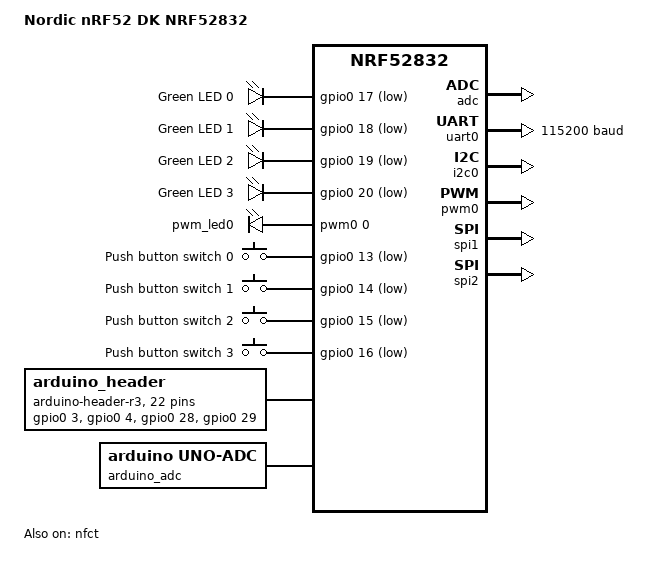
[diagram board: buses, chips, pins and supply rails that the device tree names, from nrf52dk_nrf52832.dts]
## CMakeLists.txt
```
# SPDX-License-Identifier: Apache-2.0

cmake_minimum_required(VERSION 3.20.0)
find_package(Zephyr REQUIRED HINTS $ENV{ZEPHYR_BASE})
project(temp-logger)

target_include_directories(app PRIVATE include)

target_sources(app PRIVATE 
    src/main.c
    src/sensorsHandler.c
    src/temperature.c
    src/timers.c
    src/ledHandler.c
    src/buttonHandler.c
    src/flashHandler.c
)
```

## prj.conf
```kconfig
CONFIG_GPIO=y
CONFIG_SENSOR=y
CONFIG_ADC=y
CONFIG_PRINTK=y
CONFIG_CBPRINTF_FP_SUPPORT=y
CONFIG_FLASH=y
CONFIG_MPU_ALLOW_FLASH_WRITE=y
CONFIG_FLASH_PAGE_LAYOUT=y
CONFIG_FLASH_MAP=y
CONFIG_FCB=y
CONFIG_LOG=y
CONFIG_SETTINGS=y
CONFIG_SETTINGS_FCB=y
```

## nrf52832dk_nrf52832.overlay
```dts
/*
 * SPDX-License-Identifier: Apache-2.0
 *
 * Copyright (c) 2023 Hisanori YAMAOKU
 */

/ {
	aliases {
		die-temp0 = &temp;
	};
};
```

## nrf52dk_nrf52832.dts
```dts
/*
 * Copyright (c) 2017 Shawn Nock <shawn@monadnock.ca>
 * Copyright (c) 2017 Linaro Limited
 *
 * SPDX-License-Identifier: Apache-2.0
 */

/dts-v1/;
#include <nordic/nrf52832_qfaa.dtsi>
#include "nrf52dk_nrf52832-pinctrl.dtsi"
#include <zephyr/dt-bindings/input/input-event-codes.h>

/ {
	model = "Nordic nRF52 DK NRF52832";
	compatible = "nordic,nrf52-dk-nrf52832";

	chosen {
		zephyr,console = &uart0;
		zephyr,shell-uart = &uart0;
		zephyr,uart-mcumgr = &uart0;
		zephyr,bt-mon-uart = &uart0;
		zephyr,bt-c2h-uart = &uart0;
		zephyr,sram = &sram0;
		zephyr,flash = &flash0;
		zephyr,code-partition = &slot0_partition;
	};

	leds {
		compatible = "gpio-leds";

		led0: led_0 {
			gpios = <&gpio0 17 GPIO_ACTIVE_LOW>;
			label = "Green LED 0";
		};

		led1: led_1 {
			gpios = <&gpio0 18 GPIO_ACTIVE_LOW>;
			label = "Green LED 1";
		};

		led2: led_2 {
			gpios = <&gpio0 19 GPIO_ACTIVE_LOW>;
			label = "Green LED 2";
		};

		led3: led_3 {
			gpios = <&gpio0 20 GPIO_ACTIVE_LOW>;
			label = "Green LED 3";
		};
	};

	pwmleds {
		compatible = "pwm-leds";

		pwm_led0: pwm_led_0 {
			pwms = <&pwm0 0 PWM_MSEC(20) PWM_POLARITY_INVERTED>;
		};
	};

	buttons {
		compatible = "gpio-keys";

		button0: button_0 {
			gpios = <&gpio0 13 (GPIO_PULL_UP | GPIO_ACTIVE_LOW)>;
			label = "Push button switch 0";
			zephyr,code = <INPUT_KEY_0>;
		};

		button1: button_1 {
			gpios = <&gpio0 14 (GPIO_PULL_UP | GPIO_ACTIVE_LOW)>;
			label = "Push button switch 1";
			zephyr,code = <INPUT_KEY_1>;
		};

		button2: button_2 {
			gpios = <&gpio0 15 (GPIO_PULL_UP | GPIO_ACTIVE_LOW)>;
			label = "Push button switch 2";
			zephyr,code = <INPUT_KEY_2>;
		};

		button3: button_3 {
			gpios = <&gpio0 16 (GPIO_PULL_UP | GPIO_ACTIVE_LOW)>;
			label = "Push button switch 3";
			zephyr,code = <INPUT_KEY_3>;
		};
	};

	arduino_header: connector {
		compatible = "arduino-header-r3";
		#gpio-cells = <2>;
		gpio-map-mask = <0xffffffff 0xffffffc0>;
		gpio-map-pass-thru = <0 0x3f>;
		gpio-map = <0 0 &gpio0 3 0>,	/* A0 */
			   <1 0 &gpio0 4 0>,	/* A1 */
			   <2 0 &gpio0 28 0>,	/* A2 */
			   <3 0 &gpio0 29 0>,	/* A3 */
			   <4 0 &gpio0 30 0>,	/* A4 */
			   <5 0 &gpio0 31 0>,	/* A5 */
			   <6 0 &gpio0 11 0>,	/* D0 */
			   <7 0 &gpio0 12 0>,	/* D1 */
			   <8 0 &gpio0 13 0>,	/* D2 */
			   <9 0 &gpio0 14 0>,	/* D3 */
			   <10 0 &gpio0 15 0>,	/* D4 */
			   <11 0 &gpio0 16 0>,	/* D5 */
			   <12 0 &gpio0 17 0>,	/* D6 */
			   <13 0 &gpio0 18 0>,	/* D7 */
			   <14 0 &gpio0 19 0>,	/* D8 */
			   <15 0 &gpio0 20 0>,	/* D9 */
			   <16 0 &gpio0 22 0>,	/* D10 */
			   <17 0 &gpio0 23 0>,	/* D11 */
			   <18 0 &gpio0 24 0>,	/* D12 */
			   <19 0 &gpio0 25 0>,	/* D13 */
			   <20 0 &gpio0 26 0>,	/* D14 */
			   <21 0 &gpio0 27 0>;	/* D15 */
	};

	arduino_adc: analog-connector {
		compatible = "arduino,uno-adc";
		#io-channel-cells = <1>;
		io-channel-map = <0 &adc 1>,	/* A0 = P0.3 = AIN1 */
				 <1 &adc 2>,	/* A1 = P0.4 = AIN2 */
				 <2 &adc 4>,	/* A2 = P0.28 = AIN4 */
				 <3 &adc 5>,	/* A3 = P0.29 = AIN5 */
				 <4 &adc 6>,	/* A4 = P0.30 = AIN6 */
				 <5 &adc 7>;	/* A5 = P0.31 = AIN7 */
	};

	/* These aliases are provided for compatibility with samples */
	aliases {
		led0 = &led0;
		led1 = &led1;
		led2 = &led2;
		led3 = &led3;
		pwm-led0 = &pwm_led0;
		sw0 = &button0;
		sw1 = &button1;
		sw2 = &button2;
		sw3 = &button3;
		bootloader-led0 = &led0;
		mcuboot-button0 = &button0;
		mcuboot-led0 = &led0;
		watchdog0 = &wdt0;
	};
};

&reg {
	regulator-initial-mode = <NRF5X_REG_MODE_DCDC>;
};

&adc {
	status = "okay";
};

&uicr {
	gpio-as-nreset;
};

&nfct {
	status = "okay";
};

&gpiote {
	status = "okay";
};

&gpio0 {
	status = "okay";
};

arduino_serial: &uart0 {
	status = "okay";
	compatible = "nordic,nrf-uarte";
	current-speed = <115200>;
	pinctrl-0 = <&uart0_default>;
	pinctrl-1 = <&uart0_sleep>;
	pinctrl-names = "default", "sleep";
};

arduino_i2c: &i2c0 {
	compatible = "nordic,nrf-twi";
	status = "okay";
	pinctrl-0 = <&i2c0_default>;
	pinctrl-1 = <&i2c0_sleep>;
	pinctrl-names = "default", "sleep";
};

&i2c1 {
	compatible = "nordic,nrf-twi";
	/* Cannot be used together with spi1. */
	/* status = "okay"; */
	pinctrl-0 = <&i2c1_default>;
	pinctrl-1 = <&i2c1_sleep>;
	pinctrl-names = "default", "sleep";
};

&pwm0 {
	status = "okay";
	pinctrl-0 = <&pwm0_default>;
	pinctrl-1 = <&pwm0_sleep>;
	pinctrl-names = "default", "sleep";
};

&spi0 {
	compatible = "nordic,nrf-spi";
	/* Cannot be used together with i2c0. */
	/* status = "okay"; */
	pinctrl-0 = <&spi0_default>;
	pinctrl-1 = <&spi0_sleep>;
	pinctrl-names = "default", "sleep";
};

&spi1 {
	compatible = "nordic,nrf-spi";
	status = "okay";
	pinctrl-0 = <&spi1_default>;
	pinctrl-1 = <&spi1_sleep>;
	pinctrl-names = "default", "sleep";
};

arduino_spi: &spi2 {
	compatible = "nordic,nrf-spi";
	status = "okay";
	cs-gpios = <&arduino_header 16 GPIO_ACTIVE_LOW>; /* D10 */
	pinctrl-0 = <&spi2_default>;
	pinctrl-1 = <&spi2_sleep>;
	pinctrl-names = "default", "sleep";
};

&flash0 {
	partitions {
		compatible = "fixed-partitions";
		#address-cells = <1>;
		#size-cells = <1>;

		boot_partition: partition@0 {
			label = "mcuboot";
			reg = <0x00000000 0xc000>;
		};

		slot0_partition: partition@c000 {
			label = "image-0";
			reg = <0x0000C000 0x37000>;
		};

		slot1_partition: partition@43000 {
			label = "image-1";
			reg = <0x00043000 0x37000>;
		};

		storage_partition: partition@7a000 {
			label = "storage";
			reg = <0x0007a000 0x00006000>;
		};

		// flash_circular_buffer: flash_circular_buffer@7a000 {
        // 	compatible = "zephyr,flash-circular-buffer";
        // 	label = "FCB_STORAGE";
        // 	// erase-block-size = <4096>;   // must match hardware page size
        // 	// flash-area = <&storage_partition>; // use storage partition
		// 	reg = <0x0007a000 0x0004000>;   /* start address 0x3C000, size 16 KB */
    	// };

	};
};
```

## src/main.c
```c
/*
 * Copyright (c) 2016 Intel Corporation
 *
 * SPDX-License-Identifier: Apache-2.0
 */

#include "main.h"

int main(void)
{
	uint8_t numberOfSensors = 0;
	initLED();
	initButtons();
	// initFlash();
	init_timers();

	// Check device sensor status
	if(!checkSensorStatus()) {
		printk("Sensor not ready, exiting...\n");
		return 0;
	}
	else{
		printk("All sensors ready.\n");
		printf("Number of temperature sensors: %d\n", numberOfSensors);
	}
	while (1) {
		k_msleep(SLEEP_TIME_MS);
	}

	return 0;
}
```

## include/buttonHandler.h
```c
#ifndef _BUTTON_HANDLER_H_
#define _BUTTON_HANDLER_H_

void initButtons(void);


#endif /* _BUTTON_HANDLER_H_ */
```

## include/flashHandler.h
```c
#ifndef _FLASH_HANDLER_H_
#define _FLASH_HANDLER_H_

#include <zephyr/kernel.h>
#include <zephyr/sys/reboot.h>
#include <zephyr/device.h>
#include <string.h>
#include <zephyr/drivers/flash.h>
#include <zephyr/storage/flash_map.h>
#include <zephyr/fs/nvs.h>
#include <stdio.h>

#include "temperature.h"

#define NVS_PARTITION		    rolling_buffer
#define NVS_PARTITION_DEVICE	FIXED_PARTITION_ID(NVS_PARTITION)
#define NVS_PARTITION_OFFSET	FIXED_PARTITION_OFFSET(NVS_PARTITION)

// flash last page start address: 7F000
#define FLASH_START             0x0007F000
#define SIZEOF_FLASH_BUFFER     4096                                // bytes in 1 page of flash
#define NUM_ENTRIES_OFFSET      0                                   // first byte of flash stores number of entries
#define DATA_START_OFFSET       4                                   // data starts after 4 bytes (to align to 4-byte boundary)
#define ENTRY_SIZE              16                                  // each entry is 12 bytes (8 bytes for double + 8 bytes for int64_t) 
#define MAX_ENTRIES             (SIZEOF_FLASH_BUFFER / ENTRY_SIZE)  // Max entries based on buffer size and entry size
#define MAX_SAMPLES 			8 		                            // 64 entries of 12 bytes = 768 bytes total

void initFlash(void);
void writeToFlash(uint8_t *data, size_t len, off_t offset);
void readFromFlash(uint8_t *data, size_t len, off_t offset);
void eraseFlash(void);
void printFlashContents(void);

off_t getOffset(void);
void setOffset(off_t offset);
#endif /* _FLASHHANDLER_H_ */
```

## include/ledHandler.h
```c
#ifndef _LED_HANDLER_H_
#define _LED_HANDLER_H_

#include "main.h" 

/* The devicetree node identifier for the "led0" alias. */
#define LED0_NODE DT_ALIAS(led0)

void initLED();
void toggleLED();

#endif /* _LED_HANDLER_H_ */
```

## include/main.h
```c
#include <stdio.h>
#include <devicetree_generated.h>
#include <zephyr/kernel.h>
#include <zephyr/drivers/gpio.h>
#include <zephyr/drivers/sensor.h>

#include "temperature.h"
#include "sensorsHandler.h"
#include "ledHandler.h"
#include "buttonHandler.h"
#include "flashHandler.h"
#include "timers.h"

/* 1000 msec = 1 sec */
#define SLEEP_TIME_MS   10
```

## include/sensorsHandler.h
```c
#ifndef _SENSORS_H_
#define _SENSORS_H_

#include "main.h"

#define DIE_TEMP_ALIAS(i) DT_ALIAS(_CONCAT(die_temp, i))
#define DIE_TEMPERATURE_SENSOR(i, _)                                                               \
	IF_ENABLED(DT_NODE_EXISTS(DIE_TEMP_ALIAS(i)), (DEVICE_DT_GET(DIE_TEMP_ALIAS(i)),))

/* support up to 16 cpu die temperature sensors */
extern const struct device *const sensors[];
extern const size_t sensors_count;

uint8_t checkSensorStatus();
uint8_t getNumberOfSensors();

const struct device *const *getDevice();

#endif /* _SENSORS_H_ */
```

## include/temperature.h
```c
#ifndef _TEMPERATURE_H_
#define _TEMPERATURE_H_

#include "main.h"

typedef struct {
	int64_t timestamp;		// 8 bytes
	double temperature;		// 8 bytes

}temperature_data_t;

void getTemperature_Handler(struct k_work *work);
void getDieTemperature(void);

temperature_data_t* getTemperatureDataArray();

const struct k_work *getTemperatureWork_Handler(void);





#endif /* _TEMPERATURE_H_ */
```

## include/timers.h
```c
#ifndef TIMERS_H
#define TIMERS_H

#include "ledHandler.h"
#include "temperature.h"
#include "main.h"

// Timer config for LED blinking
extern struct k_timer led_toggle_timer, temperature_timer;

void init_timers(void);
/**
 * LED toggle timer callback
*/
void led_timer_handler(struct k_timer *dummy);
void temperature_timer_handler(struct k_timer *dummy);


#endif /* TIMERS_H */
```

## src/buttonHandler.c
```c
#include "buttonHandler.h"
#include "timers.h"
#include "main.h"
#include "flashHandler.h"

#define SW0_NODE	DT_ALIAS(sw0)   // Start/stop temperature logging button
#define SW1_NODE	DT_ALIAS(sw1)   // dump flash contents to console button
#define SW2_NODE	DT_ALIAS(sw2)   // clear flash contents button

#if !DT_NODE_HAS_STATUS_OKAY(SW0_NODE)
#error "Unsupported board: sw0 devicetree alias is not defined"
#endif

// BUTTON 1
void logTemperatureButton_pressed(const struct device *dev, struct gpio_callback *cb, uint32_t pins);

// BUTTON 2
void dumpFlashButton_pressed(const struct device *dev, struct gpio_callback *cb, uint32_t pins);

// BUTTON 3
void eraseFlashButton_pressed(const struct device *dev, struct gpio_callback *cb, uint32_t pins);

/*
 * Get button configuration from the devicetree sw0 alias. This is mandatory.
 */
static const struct gpio_dt_spec logTemperatureButton   = GPIO_DT_SPEC_GET_OR(SW0_NODE, gpios,{0});
static const struct gpio_dt_spec dumpFlashButton        = GPIO_DT_SPEC_GET_OR(SW1_NODE, gpios,{0});
static const struct gpio_dt_spec eraseFlashButton       = GPIO_DT_SPEC_GET_OR(SW2_NODE, gpios,{0});

static struct gpio_callback button_cb_data_temperature, button_cb_data_erase, button_cb_data_dump;

static volatile bool _temperatureButton_pressed         = 0;
static volatile bool _eraseFlashButton_pressed          = 0;
static volatile bool _dumpFlashButton_pressed           = 0;

void initButtons()
{
    int ret;

    // Configure button pins
    if (!device_is_ready(logTemperatureButton.port)) {
        printk("Button: device %s not ready.\n", logTemperatureButton.port->name);
        return;
    }

    ret = gpio_pin_configure_dt(&logTemperatureButton, GPIO_INPUT);
    if (ret != 0) {
        printk("Error %d: failed to configure %s pin %d\n",
               ret, logTemperatureButton.port->name, logTemperatureButton.pin);
        return;
    }

    ret = gpio_pin_configure_dt(&dumpFlashButton, GPIO_INPUT);
    if (ret != 0) {
        printk("Error %d: failed to configure %s pin %d\n",
               ret, dumpFlashButton.port->name, dumpFlashButton.pin);
        return;
    }

    ret = gpio_pin_configure_dt(&eraseFlashButton, GPIO_INPUT);
    if (ret != 0) {
        printk("Error %d: failed to configure %s pin %d\n",
               ret, eraseFlashButton.port->name, eraseFlashButton.pin);
        return;
    }

    // Configure interrupt on log temperature button pin
    ret = gpio_pin_interrupt_configure_dt(&logTemperatureButton, GPIO_INT_EDGE_TO_ACTIVE);
    if (ret != 0) {
        printk("Error %d: failed to configure interrupt on %s pin %d\n",
               ret, logTemperatureButton.port->name, logTemperatureButton.pin);
        return;
    }

    // Configure interrupt on log temperature button pin
    ret = gpio_pin_interrupt_configure_dt(&dumpFlashButton, GPIO_INT_EDGE_TO_ACTIVE);
    if (ret != 0) {
        printk("Error %d: failed to configure interrupt on %s pin %d\n",
               ret, dumpFlashButton.port->name, dumpFlashButton.pin);
        return;
    }

    // Configure interrupt on log temperature button pin
    ret = gpio_pin_interrupt_configure_dt(&eraseFlashButton, GPIO_INT_EDGE_TO_ACTIVE);
    if (ret != 0) {
        printk("Error %d: failed to configure interrupt on %s pin %d\n",
               ret, eraseFlashButton.port->name, eraseFlashButton.pin);
        return;
    }

    // init callback for log temperature button
    gpio_init_callback(&button_cb_data_temperature, logTemperatureButton_pressed, BIT(logTemperatureButton.pin));
    gpio_add_callback(logTemperatureButton.port, &button_cb_data_temperature);
    printk("Set up button at %s pin %d\n", logTemperatureButton.port->name, logTemperatureButton.pin);

    // init callback for dump flash button
    gpio_init_callback(&button_cb_data_dump, dumpFlashButton_pressed, BIT(dumpFlashButton.pin));
    gpio_add_callback(dumpFlashButton.port, &button_cb_data_dump);
    printk("Set up button at %s pin %d\n", dumpFlashButton.port->name, dumpFlashButton.pin);

    // init callback for erase flash button
    gpio_init_callback(&button_cb_data_erase, eraseFlashButton_pressed, BIT(eraseFlashButton.pin));
    gpio_add_callback(eraseFlashButton.port, &button_cb_data_erase);
    printk("Set up button at %s pin %d\n", eraseFlashButton.port->name, eraseFlashButton.pin);
}

// Callback for log temperature button
void logTemperatureButton_pressed(const struct device *dev, struct gpio_callback *cb, uint32_t pins)
{
    // Collect temperature data every 500ms when button pressed to buffer, then write buffer to flash when button pressed again
    if(!_temperatureButton_pressed) {
        _temperatureButton_pressed = 1;
        k_timer_start(&temperature_timer, K_MSEC(500), K_MSEC(500));
    }
    else{
        _temperatureButton_pressed = 0;
        k_timer_stop(&temperature_timer);

        // Get temperature data array and write to flash
        // @todo write dynamic lengths based on number of samples collected
        temperature_data_t *temperature_data_array = getTemperatureDataArray();
        
        writeToFlash((uint8_t*)&temperature_data_array[0], ENTRY_SIZE * MAX_SAMPLES, getOffset());
    }
}

// Callback for erase flash button
void eraseFlashButton_pressed(const struct device *dev, struct gpio_callback *cb, uint32_t pins)
{
    eraseFlash();
}

// Callback for  print contents of flash buffer to console
void dumpFlashButton_pressed(const struct device *dev, struct gpio_callback *cb, uint32_t pins)
{
    printFlashContents();
}
```

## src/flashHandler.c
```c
#include "flashHandler.h"
#include "sensorsHandler.h"
#include "temperature.h"

#include "main.h"

uint8_t data_buffer[ENTRY_SIZE * MAX_SAMPLES];

void writeToFlash(uint8_t *data, size_t len, off_t offset)
{
    // Write the entire buffer to flash at the specified offset within the partition
    memset(data_buffer, 0xFF, len); // default erased state
    memcpy(data_buffer, data, len);

    const struct flash_area *fa;
    
    int rc = flash_area_open(NVS_PARTITION_DEVICE, &fa);
    if (rc) {
        printk("Failed to open flash partition (%d)\n", rc);
        return;
    }

    // erase flash if writing at start of data area
    if (offset == DATA_START_OFFSET) { 
        rc = flash_area_erase(fa, 0, fa->fa_size); // erase one page
        if (rc) {
            printk("Failed to erase flash area (%d)\n", rc);
            return;
        }
    }

    rc = flash_area_write(fa, offset, data_buffer, len);
    if (rc) {
        printk("Flash write failed (%d)\n", rc);
    }

    setOffset(offset + (off_t)len);

    // flash_area_close(fa);
}

void readFromFlash(uint8_t *data, size_t len, off_t offset)
{
    const struct flash_area *fa;
    int rc;
    rc = flash_area_open(NVS_PARTITION_DEVICE, &fa);
    if (rc) {
        printk("Failed to open flash partition (%d)\n", rc);
        return;
    }

    // Read the entire buffer from flash at the specified offset within the partition
    uint8_t buffer[ENTRY_SIZE];
    flash_area_read(fa, offset, buffer, len);
    memcpy(data, buffer, len);

    // flash_area_close(fa);
}

void setOffset(off_t offset)
{
    int rc;
    const struct flash_area *fa;

    rc = flash_area_open(NVS_PARTITION_DEVICE, &fa);
    if (rc)
    {
        printk("Failed to open flash partition (%d)\n", rc);
        return;
    }

    rc = flash_area_write(fa, NUM_ENTRIES_OFFSET, (void*)&offset, sizeof(offset));
    if (rc)
    {
        printk("Failed to write offset to flash (%d)\n", rc);
        return;
    }
    else
    {
        printk("Wrote new offset %i to flash\n", offset);
    }

}

void eraseFlash(void)
{
    const struct flash_area *fa;
    int rc;
    rc = flash_area_open(NVS_PARTITION_DEVICE, &fa);
    if (rc) {
        printk("Failed to open flash partition (%d)\n", rc);
        return;
    }

    rc = flash_area_erase(fa, 0, fa->fa_size);
    if (rc) {
        printk("Failed to erase flash partition (%d)\n", rc);
        return;
    }
    // flash_area_close(fa);
}

off_t getOffset(void)
{
    off_t offset = 0;
    const struct flash_area *fa;
    int rc;
    rc = flash_area_open(NVS_PARTITION_DEVICE, &fa);
    if (rc) {
        printk("Failed to open flash partition (%d)\n", rc);
        return DATA_START_OFFSET; // default to start of data area
    }

    rc = flash_area_read(fa, NUM_ENTRIES_OFFSET, (void*)offset, sizeof(off_t));
    if (rc) {
        printk("Failed to read number of entries from flash (%d)\n", rc);
        return DATA_START_OFFSET; // default to start of data area
    }
    else
    {
        printk("Read offset %lu from flash\n", offset);
    }
    // flash_area_close(fa);

    return offset;
}

void printFlashContents()
{   
    int rc;
    const struct flash_area *fa;
    temperature_data_t RtempData;
    rc = flash_area_open(NVS_PARTITION_DEVICE, &fa);
    if (rc) {
        printk("Failed to open flash partition (%d)\n", rc);
    }
    // read flash contents and print to console
    for (int i = 0; i < MAX_SAMPLES; i++) {
        uint8_t data[ENTRY_SIZE];
        readFromFlash(data, ENTRY_SIZE, DATA_START_OFFSET + i * ENTRY_SIZE);
        memcpy(&RtempData, data, sizeof(temperature_data_t));

        if (RtempData.timestamp == 0xFFFFFFFFFFFFFFFF) {
            // reached end of valid data
            printk("Reached end of valid data. Entry %d: Temp = %.2f C, Timestamp = %lld\n", i, RtempData.temperature, RtempData.timestamp);
            break;
        }

        printk("Entry %d: Temp = %.2f C, Timestamp = %lld\n", i, RtempData.temperature, RtempData.timestamp);
        // printk("Entry %d: Temp = %.2f C, Timestamp = %lld\n", i, RtempData.temperature, RtempData.timestamp);
    }
}
```

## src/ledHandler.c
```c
#include "ledHandler.h"

// Get LED configuration from the devicetree
static const struct gpio_dt_spec led = GPIO_DT_SPEC_GET(LED0_NODE, gpios);

// Configure LED GPIO
void initLED()
{
    if (!device_is_ready(led.port)) {
        printk("LED: device %s not ready.\n", led.port->name);
        return;
    } else {
        printf("LED ready (%s)\n", led.port->name);
    }

    if (!gpio_is_ready_dt(&led)) {
		return;
	}
    
	if (gpio_pin_configure_dt(&led, GPIO_OUTPUT_ACTIVE))
    {
        printk("LED: Failed to configure pin (%d)\n", led.pin);
		return;
	}
    else{
        printf("LED pin %d configured successfully.\n", led.pin);
    }
}

// Callback for LED toggle timer
void toggleLED()
{
    gpio_pin_toggle_dt(&led);
}
```

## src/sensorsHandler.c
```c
#include "sensorsHandler.h"

const struct device *const sensors[] = {LISTIFY(16, DIE_TEMPERATURE_SENSOR, ())};
const size_t sensors_count = ARRAY_SIZE(sensors);

const struct device *const *getDevice()
{
	return sensors;
}

uint8_t getNumberOfSensors()
{
	return sensors_count;
}

uint8_t checkSensorStatus()
{
	for (size_t i = 0; i < sensors_count; i++) {
		if (!device_is_ready(sensors[i])) {
			printk("sensor: device %s not ready.\n", sensors[i]->name);
			return 0;
		}
		else {
			printf("Sensor ready (%s)\n", sensors[i]->name);
		}
	}
	return 1;
}
```

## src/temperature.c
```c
#include "main.h"
#include "temperature.h"
#include "flashHandler.h"

/**
 * K_WORK_DEFINE() Initialize a statically-defined work item. Does the same as:
  		struct k_work temp_work;
		k_work_init(&temp_work, temp_work_handler);
 * Instead of initialising at run time, this macro initializes the work item at compile time.
 * Therefore don't need to call k_work_init() in main() and can call k_work_submit() directly.
 */
K_WORK_DEFINE(get_temperature_work, getTemperature_Handler);

static temperature_data_t temperature_data_array[MAX_SAMPLES];
temperature_data_t temperature_data;

const struct k_work *getTemperatureWork_Handler()
{
	return &get_temperature_work;
}

void getDieTemperature()
{
	static uint8_t index = 0;
	static uint8_t i = 0;
    struct sensor_value value;
	int rc;

	for (size_t i = 0; i < getNumberOfSensors(); i++) {
		rc = sensor_sample_fetch_chan(sensors[i], SENSOR_CHAN_DIE_TEMP);
		if (rc) {
			printk("Failed to fetch sample (%d)\n", rc);
			return;
		}

		rc = sensor_channel_get(sensors[i], SENSOR_CHAN_DIE_TEMP, &value);
		if (rc) {
			printk("Failed to get data (%d)\n", rc);
			return;
		}
	}
	
    temperature_data.timestamp = i++;//k_uptime_get();
    temperature_data.temperature = sensor_value_to_double(&value);
	
	printf("%llu Temperature: %f C\n", temperature_data.timestamp, temperature_data.temperature);

	// writeToFlash();
	/** WRITE TO FLASH
	 * Temperature val (double) = 8 bytes
	 * Timestamp (int64_t) = 8 bytes
	 * Total = 12 bytes
	 * 
	 * Flash should write to rolling buffer, overwriting oldest data when full.
	 * 
	 */

	temperature_data_array[index] = temperature_data;
	index = (index + 1) % MAX_SAMPLES; // wrap around if exceeds max
}

void getTemperature_Handler(struct k_work *work)
{
	getDieTemperature();
}

temperature_data_t* getTemperatureDataArray()
{
	return temperature_data_array;
}
```
